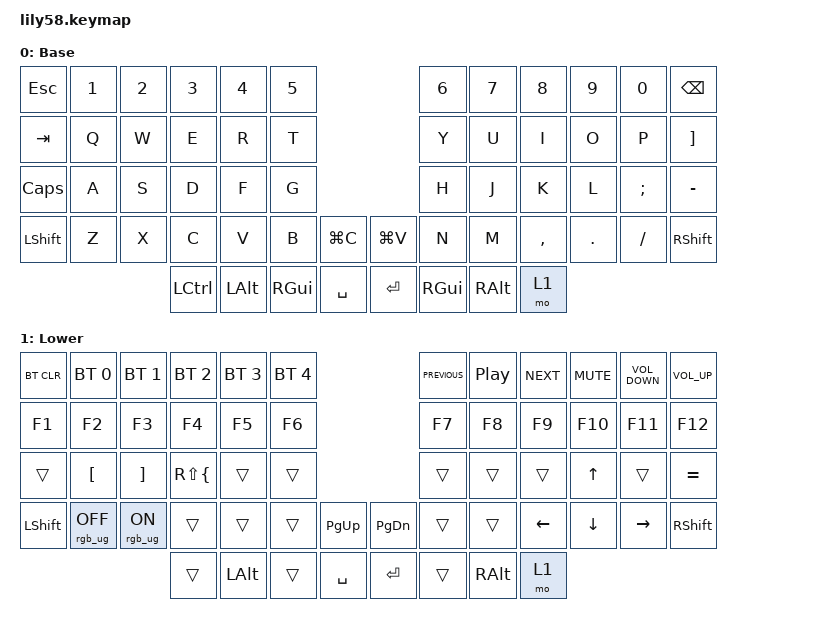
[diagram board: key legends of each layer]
/*
 * Copyright (c) 2020 The ZMK Contributors
 *
 * SPDX-License-Identifier: MIT
 */

#include <dt-bindings/led/led.h>
#include <behaviors.dtsi>
#include <dt-bindings/zmk/bt.h>
#include <dt-bindings/zmk/keys.h>
#include <dt-bindings/zmk/rgb.h>

/ {
    keymap {
        compatible = "zmk,keymap";

        default_layer {
            // ------------------------------------------------------------------------------------------------------------
            // |  ESC  |  1  |  2  |  3   |  4   |  5   |                   |  6   |  7    |  8    |  9   |   0   |   `   |
            // |  TAB  |  Q  |  W  |  E   |  R   |  T   |                   |  Y   |  U    |  I    |  O   |   P   |   -   |
            // |  CTRL |  A  |  S  |  D   |  F   |  G   |                   |  H   |  J    |  K    |  L   |   ;   |   '   |
            // | SHIFT |  Z  |  X  |  C   |  V   |  B   |   "["  |  |  "]"  |  N   |  M    |  ,    |  .   |   /   | SHIFT |
            //                     | ALT  | GUI  | LOWER|  SPACE |  | ENTER | RAISE| BSPC  | GUI   |

            display-name = "Base";
            bindings = <
&kp ESC       &kp N1  &kp N2  &kp N3     &kp N4    &kp N5                            &kp N6    &kp N7    &kp N8     &kp N9   &kp N0     &kp BSPC
&kp TAB       &kp Q   &kp W   &kp E      &kp R     &kp T                             &kp Y     &kp U     &kp I      &kp O    &kp P      &kp RIGHT_BRACKET
&kp CAPSLOCK  &kp A   &kp S   &kp D      &kp F     &kp G                             &kp H     &kp J     &kp K      &kp L    &kp SEMI   &kp MINUS
&kp LSHFT     &kp Z   &kp X   &kp C      &kp V     &kp B     &kp LG(C)    &kp LG(V)  &kp N     &kp M     &kp COMMA  &kp DOT  &kp SLASH  &kp RSHFT
                              &kp LCTRL  &kp LALT  &kp RGUI  &kp SPACE    &kp RET    &kp RGUI  &kp RALT  &mo 1
            >;
        };

        lower_layer {
            // ------------------------------------------------------------------------------------------------------------
            // | BTCLR | BT1 | BT2 |  BT3 |  BT4 |  BT5 |                   |      |       |       |      |       |       |
            // |  F1   |  F2 |  F3 |  F4  |  F5  |  F6  |                   |  F7  |  F8   |  F9   |  F10 |  F11  |  F12  |
            // |   `   |  !  |  @  |  #   |  $   |  %   |                   |  ^   |  &    |  *    |  (   |   )   |   ~   |
            // |       |     |     |      |      |      |        |  |       |      |  _    |  +    |  {   |   }   |  "|"  |
            //                     |      |      |      |        |  |       |      |       |       |

            display-name = "Lower";
            bindings = <
&bt BT_CLR  &bt BT_SEL 0      &bt BT_SEL 1    &bt BT_SEL 2  &bt BT_SEL 3  &bt BT_SEL 4                          &kp C_PREVIOUS  &kp C_PLAY_PAUSE  &kp C_NEXT      &kp C_MUTE      &kp C_VOLUME_DOWN  &kp C_VOLUME_UP
&kp F1      &kp F2            &kp F3          &kp F4        &kp F5        &kp F6                                &kp F7          &kp F8            &kp F9          &kp F10         &kp F11            &kp F12
&trans      &kp LEFT_BRACKET  &kp RBKT        &kp RS(LBRC)  &trans        &trans                                &trans          &trans            &trans          &kp UP_ARROW    &trans             &kp EQUAL
&kp LSHFT   &rgb_ug RGB_OFF   &rgb_ug RGB_ON  &trans        &trans        &trans        &kp PG_UP    &kp PG_DN  &trans          &trans            &kp LEFT_ARROW  &kp DOWN_ARROW  &kp RIGHT_ARROW    &kp RSHFT
                                              &trans        &kp LALT      &trans        &kp SPACE    &kp ENTER  &trans          &kp RALT          &mo 1
            >;
        };
    };
};
